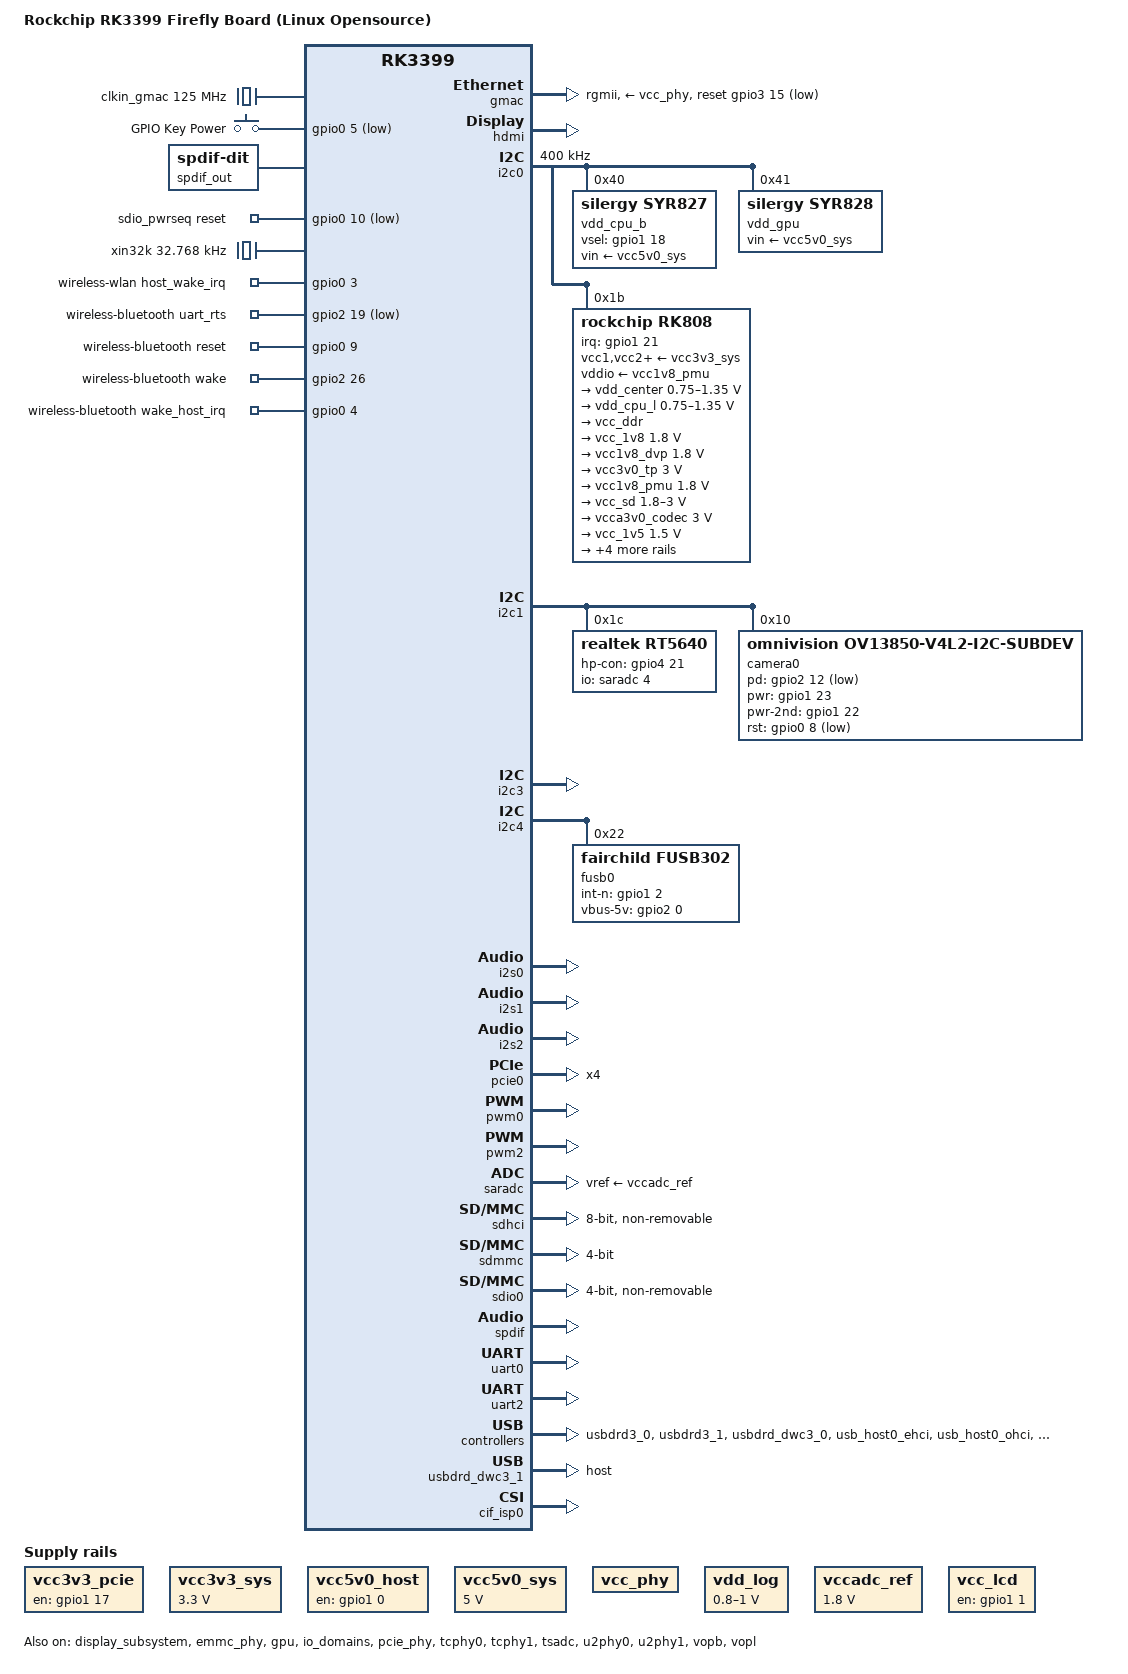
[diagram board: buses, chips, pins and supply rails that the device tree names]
/*
 * Copyright (c) 2017 Fuzhou Rockchip Electronics Co., Ltd
 *
 * This file is dual-licensed: you can use it either under the terms
 * of the GPL or the X11 license, at your option. Note that this dual
 * licensing only applies to this file, and not this project as a
 * whole.
 *
 *  a) This file is free software; you can redistribute it and/or
 *     modify it under the terms of the GNU General Public License as
 *     published by the Free Software Foundation; either version 2 of the
 *     License, or (at your option) any later version.
 *
 *     This file is distributed in the hope that it will be useful,
 *     but WITHOUT ANY WARRANTY; without even the implied warranty of
 *     MERCHANTABILITY or FITNESS FOR A PARTICULAR PURPOSE.  See the
 *     GNU General Public License for more details.
 *
 * Or, alternatively,
 *
 *  b) Permission is hereby granted, free of charge, to any person
 *     obtaining a copy of this software and associated documentation
 *     files (the "Software"), to deal in the Software without
 *     restriction, including without limitation the rights to use,
 *     copy, modify, merge, publish, distribute, sublicense, and/or
 *     sell copies of the Software, and to permit persons to whom the
 *     Software is furnished to do so, subject to the following
 *     conditions:
 *
 *     The above copyright notice and this permission notice shall be
 *     included in all copies or substantial portions of the Software.
 *
 *     THE SOFTWARE IS PROVIDED "AS IS", WITHOUT WARRANTY OF ANY KIND,
 *     EXPRESS OR IMPLIED, INCLUDING BUT NOT LIMITED TO THE WARRANTIES
 *     OF MERCHANTABILITY, FITNESS FOR A PARTICULAR PURPOSE AND
 *     NONINFRINGEMENT. IN NO EVENT SHALL THE AUTHORS OR COPYRIGHT
 *     HOLDERS BE LIABLE FOR ANY CLAIM, DAMAGES OR OTHER LIABILITY,
 *     WHETHER IN AN ACTION OF CONTRACT, TORT OR OTHERWISE, ARISING
 *     FROM, OUT OF OR IN CONNECTION WITH THE SOFTWARE OR THE USE OR
 *     OTHER DEALINGS IN THE SOFTWARE.
 */

/dts-v1/;

#include "dt-bindings/pwm/pwm.h"
#include "rk3399.dtsi"
#include "rk3399-opp.dtsi"
#include "rk3399-linux.dtsi"
#include <dt-bindings/input/input.h>

/ {
	model = "Rockchip RK3399 Firefly Board (Linux Opensource)";
	compatible = "rockchip,rk3399-firefly-linux", "rockchip,rk3399";

	backlight: backlight {
		status = "disabled";
		compatible = "pwm-backlight";
		pwms = <&pwm0 0 25000 0>;
		brightness-levels = <
			  0   1   2   3   4   5   6   7
			  8   9  10  11  12  13  14  15
			 16  17  18  19  20  21  22  23
			 24  25  26  27  28  29  30  31
			 32  33  34  35  36  37  38  39
			 40  41  42  43  44  45  46  47
			 48  49  50  51  52  53  54  55
			 56  57  58  59  60  61  62  63
			 64  65  66  67  68  69  70  71
			 72  73  74  75  76  77  78  79
			 80  81  82  83  84  85  86  87
			 88  89  90  91  92  93  94  95
			 96  97  98  99 100 101 102 103
			104 105 106 107 108 109 110 111
			112 113 114 115 116 117 118 119
			120 121 122 123 124 125 126 127
			128 129 130 131 132 133 134 135
			136 137 138 139 140 141 142 143
			144 145 146 147 148 149 150 151
			152 153 154 155 156 157 158 159
			160 161 162 163 164 165 166 167
			168 169 170 171 172 173 174 175
			176 177 178 179 180 181 182 183
			184 185 186 187 188 189 190 191
			192 193 194 195 196 197 198 199
			200 201 202 203 204 205 206 207
			208 209 210 211 212 213 214 215
			216 217 218 219 220 221 222 223
			224 225 226 227 228 229 230 231
			232 233 234 235 236 237 238 239
			240 241 242 243 244 245 246 247
			248 249 250 251 252 253 254 255>;
		default-brightness-level = <200>;
	};

	clkin_gmac: external-gmac-clock {
		compatible = "fixed-clock";
		clock-frequency = <125000000>;
		clock-output-names = "clkin_gmac";
		#clock-cells = <0>;
	};

	dw_hdmi_audio: dw-hdmi-audio {
		status = "disabled";
		compatible = "rockchip,dw-hdmi-audio";
		#sound-dai-cells = <0>;
	};

	edp_panel: edp-panel {
		status = "disabled";
		compatible = "sharp,lcd-f402", "panel-simple";
		backlight = <&backlight>;
		power-supply = <&vcc_lcd>;
		enable-gpios = <&gpio4 29 GPIO_ACTIVE_HIGH>;
		pinctrl-names = "default";
		pinctrl-0 = <&lcd_panel_reset>;

		ports {
			panel_in_edp: endpoint {
				remote-endpoint = <&edp_out_panel>;
			};
		};
	};

	gpio-keys {
		compatible = "gpio-keys";
		#address-cells = <1>;
		#size-cells = <0>;
		autorepeat;

		pinctrl-names = "default";
		pinctrl-0 = <&pwrbtn>;

		button@0 {
			gpios = <&gpio0 5 GPIO_ACTIVE_LOW>;
			linux,code = <KEY_POWER>;
			label = "GPIO Key Power";
			linux,input-type = <1>;
			gpio-key,wakeup = <1>;
			debounce-interval = <100>;
		};
	};

	rt5640-sound {
		compatible = "simple-audio-card";
		simple-audio-card,format = "i2s";
		simple-audio-card,name = "rockchip,rt5640-codec";
		simple-audio-card,mclk-fs = <256>;
		simple-audio-card,widgets =
			"Microphone", "Mic Jack",
			"Headphone", "Headphone Jack";
		simple-audio-card,routing =
			"Mic Jack", "MICBIAS1",
			"IN1P", "Mic Jack",
			"Headphone Jack", "HPOL",
			"Headphone Jack", "HPOR";
		simple-audio-card,cpu {
			sound-dai = <&i2s1>;
		};
		simple-audio-card,codec {
			sound-dai = <&rt5640>;
		};
	};

	hdmi_sound: hdmi-sound {
		status = "disabled";
		compatible = "simple-audio-card";
		simple-audio-card,format = "i2s";
		simple-audio-card,mclk-fs = <256>;
		simple-audio-card,name = "rockchip,hdmi";

		simple-audio-card,cpu {
			sound-dai = <&i2s2>;
		};
		simple-audio-card,codec {
			sound-dai = <&dw_hdmi_audio>;
		};
	};

	hdmi_codec: hdmi-codec {
		compatible = "simple-audio-card";
		simple-audio-card,format = "i2s";
		simple-audio-card,mclk-fs = <256>;
		simple-audio-card,name = "HDMI-CODEC";

		simple-audio-card,cpu {
			sound-dai = <&i2s2>;
		};

		simple-audio-card,codec {
			sound-dai = <&hdmi>;
		};
	};

	spdif-sound {
		status = "okay";
		compatible = "simple-audio-card";
		simple-audio-card,name = "ROCKCHIP,SPDIF";
		simple-audio-card,cpu {
			sound-dai = <&spdif>;
		};
		simple-audio-card,codec {
			sound-dai = <&spdif_out>;
		};
	};

	spdif_out: spdif-out {
		status = "okay";
		compatible = "linux,spdif-dit";
		#sound-dai-cells = <0>;
	};

	sdio_pwrseq: sdio-pwrseq {
		compatible = "mmc-pwrseq-simple";
		clocks = <&rk808 1>;
		clock-names = "ext_clock";
		pinctrl-names = "default";
		pinctrl-0 = <&wifi_enable_h>;

		/*
		 * On the module itself this is one of these (depending
		 * on the actual card populated):
		 * - SDIO_RESET_L_WL_REG_ON
		 * - PDN (power down when low)
		 */
		reset-gpios = <&gpio0 10 GPIO_ACTIVE_LOW>; /* GPIO0_B2 */
	};

	vcc3v3_pcie: vcc3v3-pcie-regulator {
		compatible = "regulator-fixed";
		enable-active-high;
		regulator-always-on;
		regulator-boot-on;
		gpio = <&gpio1 17 GPIO_ACTIVE_HIGH>;
		pinctrl-names = "default";
		pinctrl-0 = <&pcie_drv>;
		regulator-name = "vcc3v3_pcie";
	};

	vcc3v3_sys: vcc3v3-sys {
		compatible = "regulator-fixed";
		regulator-name = "vcc3v3_sys";
		regulator-always-on;
		regulator-boot-on;
		regulator-min-microvolt = <3300000>;
		regulator-max-microvolt = <3300000>;
	};

	vcc5v0_host: vcc5v0-host-regulator {
		compatible = "regulator-fixed";
		enable-active-high;
		gpio = <&gpio1 0 GPIO_ACTIVE_HIGH>;
		pinctrl-names = "default";
		pinctrl-0 = <&host_vbus_drv>;
		regulator-name = "vcc5v0_host";
		regulator-always-on;
	};

	vcc5v0_sys: vcc5v0-sys {
		compatible = "regulator-fixed";
		regulator-name = "vcc5v0_sys";
		regulator-always-on;
		regulator-boot-on;
		regulator-min-microvolt = <5000000>;
		regulator-max-microvolt = <5000000>;
	};

	vcc_phy: vcc-phy-regulator {
		compatible = "regulator-fixed";
		regulator-name = "vcc_phy";
		regulator-always-on;
		regulator-boot-on;
	};

	vdd_log: vdd-log {
		compatible = "pwm-regulator";
		pwms = <&pwm2 0 25000 1>;
		regulator-name = "vdd_log";
		regulator-min-microvolt = <800000>;
		/*
		 * the firefly hardware using 3.0 v as APIO2_VDD
		 * voltage, but the pwm divider resistance is designed
		 * based on hardware which the APIO2_VDD is 1.8v, so we
		 * need to change the regulator-max-microvolt from 1.4v
		 * to 1.0v, so the pwm can output 0.9v voltage.
		 */
		regulator-max-microvolt = <1000000>;
		regulator-always-on;
		regulator-boot-on;

		/* for rockchip boot on */
		rockchip,pwm_id= <2>;
		rockchip,pwm_voltage = <900000>;
	};

	vccadc_ref: vccadc-ref {
		compatible = "regulator-fixed";
		regulator-name = "vcc1v8_sys";
		regulator-always-on;
		regulator-boot-on;
		regulator-min-microvolt = <1800000>;
		regulator-max-microvolt = <1800000>;
	};

	vcc_lcd: vcc-lcd-regulator {
		compatible = "regulator-fixed";
		regulator-always-on;
		regulator-boot-on;
		enable-active-high;
		gpio = <&gpio1 1 GPIO_ACTIVE_HIGH>;
		pinctrl-names = "default";
		pinctrl-0 = <&lcd_en>;
		regulator-name = "vcc_lcd";
	};

	xin32k: xin32k {
		compatible = "fixed-clock";
		clock-frequency = <32768>;
		clock-output-names = "xin32k";
		#clock-cells = <0>;
	};

	wireless-wlan {
		compatible = "wlan-platdata";
		rockchip,grf = <&grf>;
		wifi_chip_type = "ap6354";
		sdio_vref = <1800>;
		WIFI,host_wake_irq = <&gpio0 3 GPIO_ACTIVE_HIGH>; /* GPIO0_a3 */
		status = "okay";
	};

	wireless-bluetooth {
		compatible = "bluetooth-platdata";
		//wifi-bt-power-toggle;
		uart_rts_gpios = <&gpio2 19 GPIO_ACTIVE_LOW>; /* GPIO2_C3 */
		pinctrl-names = "default", "rts_gpio";
		pinctrl-0 = <&uart0_rts>;
		pinctrl-1 = <&uart0_gpios>;
		//BT,power_gpio  = <&gpio3 19 GPIO_ACTIVE_HIGH>; /* GPIOx_xx */
		BT,reset_gpio    = <&gpio0 9 GPIO_ACTIVE_HIGH>; /* GPIO0_B1 */
		BT,wake_gpio     = <&gpio2 26 GPIO_ACTIVE_HIGH>; /* GPIO2_D2 */
		BT,wake_host_irq = <&gpio0 4 GPIO_ACTIVE_HIGH>; /* GPIO0_A4 */
		status = "okay";
	};
};

&cpu_l0 {
	cpu-supply = <&vdd_cpu_l>;
};

&cpu_l1 {
	cpu-supply = <&vdd_cpu_l>;
};

&cpu_l2 {
	cpu-supply = <&vdd_cpu_l>;
};

&cpu_l3 {
	cpu-supply = <&vdd_cpu_l>;
};

&cpu_b0 {
	cpu-supply = <&vdd_cpu_b>;
};

&cpu_b1 {
	cpu-supply = <&vdd_cpu_b>;
};

&display_subsystem {
	status = "okay";
};

&edp {
	status = "disabled";

	ports {
		edp_out: port@1 {
			reg = <1>;
			#address-cells = <1>;
			#size-cells = <0>;

			edp_out_panel: endpoint@0 {
				reg = <0>;
				remote-endpoint = <&panel_in_edp>;
			};
		};
	};
};

&emmc_phy {
	status = "okay";
};

&gmac {
	phy-supply = <&vcc_phy>;
	phy-mode = "rgmii";
	clock_in_out = "input";
	snps,reset-gpio = <&gpio3 15 GPIO_ACTIVE_LOW>;
	snps,reset-active-low;
	snps,reset-delays-us = <0 10000 50000>;
	assigned-clocks = <&cru SCLK_RMII_SRC>;
	assigned-clock-parents = <&clkin_gmac>;
	pinctrl-names = "default";
	pinctrl-0 = <&rgmii_pins>;
	tx_delay = <0x28>;
	rx_delay = <0x11>;
	status = "okay";
};

&gpu {
	status = "okay";
	mali-supply = <&vdd_gpu>;
};

&hdmi {
	#address-cells = <1>;
	#size-cells = <0>;
	#sound-dai-cells = <0>;
	status = "okay";
};

&i2c0 {
	status = "okay";
	i2c-scl-rising-time-ns = <168>;
	i2c-scl-falling-time-ns = <4>;
	clock-frequency = <400000>;

	vdd_cpu_b: syr827@40 {
		compatible = "silergy,syr827";
		reg = <0x40>;
		vin-supply = <&vcc5v0_sys>;
		regulator-compatible = "fan53555-reg";
		regulator-name = "vdd_cpu_b";
		regulator-min-microvolt = <712500>;
		regulator-max-microvolt = <1500000>;
		regulator-ramp-delay = <1000>;
		vsel-gpios = <&gpio1 18 GPIO_ACTIVE_HIGH>;
		fcs,suspend-voltage-selector = <1>;
		regulator-always-on;
		regulator-boot-on;
		regulator-initial-state = <3>;
			regulator-state-mem {
			regulator-off-in-suspend;
		};
	};

	vdd_gpu: syr828@41 {
		compatible = "silergy,syr828";
		reg = <0x41>;
		vin-supply = <&vcc5v0_sys>;
		regulator-compatible = "fan53555-reg";
		regulator-name = "vdd_gpu";
		regulator-min-microvolt = <712500>;
		regulator-max-microvolt = <1500000>;
		regulator-ramp-delay = <1000>;
		fcs,suspend-voltage-selector = <1>;
		regulator-always-on;
		regulator-boot-on;
		regulator-initial-state = <3>;
			regulator-state-mem {
			regulator-off-in-suspend;
		};
	};

	rk808: pmic@1b {
		compatible = "rockchip,rk808";
		reg = <0x1b>;
		interrupt-parent = <&gpio1>;
		interrupts = <21 IRQ_TYPE_LEVEL_LOW>;
		pinctrl-names = "default";
		pinctrl-0 = <&pmic_int_l &pmic_dvs2>;
		rockchip,system-power-controller;
		wakeup-source;
		#clock-cells = <1>;
		clock-output-names = "rk808-clkout1", "rk808-clkout2";

		vcc1-supply = <&vcc3v3_sys>;
		vcc2-supply = <&vcc3v3_sys>;
		vcc3-supply = <&vcc3v3_sys>;
		vcc4-supply = <&vcc3v3_sys>;
		vcc6-supply = <&vcc3v3_sys>;
		vcc7-supply = <&vcc3v3_sys>;
		vcc8-supply = <&vcc3v3_sys>;
		vcc9-supply = <&vcc3v3_sys>;
		vcc10-supply = <&vcc3v3_sys>;
		vcc11-supply = <&vcc3v3_sys>;
		vcc12-supply = <&vcc3v3_sys>;
		vddio-supply = <&vcc1v8_pmu>;

		regulators {
			vdd_center: DCDC_REG1 {
				regulator-always-on;
				regulator-boot-on;
				regulator-min-microvolt = <750000>;
				regulator-max-microvolt = <1350000>;
				regulator-ramp-delay = <6001>;
				regulator-name = "vdd_center";
				regulator-state-mem {
					regulator-off-in-suspend;
				};
			};

			vdd_cpu_l: DCDC_REG2 {
				regulator-always-on;
				regulator-boot-on;
				regulator-min-microvolt = <750000>;
				regulator-max-microvolt = <1350000>;
				regulator-ramp-delay = <6001>;
				regulator-name = "vdd_cpu_l";
				regulator-state-mem {
					regulator-off-in-suspend;
				};
			};

			vcc_ddr: DCDC_REG3 {
				regulator-always-on;
				regulator-boot-on;
				regulator-name = "vcc_ddr";
				regulator-state-mem {
					regulator-on-in-suspend;
				};
			};

			vcc_1v8: DCDC_REG4 {
				regulator-always-on;
				regulator-boot-on;
				regulator-min-microvolt = <1800000>;
				regulator-max-microvolt = <1800000>;
				regulator-name = "vcc_1v8";
				regulator-state-mem {
					regulator-on-in-suspend;
					regulator-suspend-microvolt = <1800000>;
				};
			};

			vcc1v8_dvp: LDO_REG1 {
				regulator-always-on;
				regulator-boot-on;
				regulator-min-microvolt = <1800000>;
				regulator-max-microvolt = <1800000>;
				regulator-name = "vcc1v8_dvp";
				regulator-state-mem {
					regulator-off-in-suspend;
				};
			};

			vcc3v0_tp: LDO_REG2 {
				regulator-always-on;
				regulator-boot-on;
				regulator-min-microvolt = <3000000>;
				regulator-max-microvolt = <3000000>;
				regulator-name = "vcc3v0_tp";
				regulator-state-mem {
					regulator-off-in-suspend;
				};
			};

			vcc1v8_pmu: LDO_REG3 {
				regulator-always-on;
				regulator-boot-on;
				regulator-min-microvolt = <1800000>;
				regulator-max-microvolt = <1800000>;
				regulator-name = "vcc1v8_pmu";
				regulator-state-mem {
					regulator-on-in-suspend;
					regulator-suspend-microvolt = <1800000>;
				};
			};

			vcc_sd: LDO_REG4 {
				regulator-always-on;
				regulator-boot-on;
				regulator-min-microvolt = <1800000>;
				regulator-max-microvolt = <3000000>;
				regulator-name = "vcc_sd";
				regulator-state-mem {
					regulator-on-in-suspend;
					regulator-suspend-microvolt = <3000000>;
				};
			};

			vcca3v0_codec: LDO_REG5 {
				regulator-always-on;
				regulator-boot-on;
				regulator-min-microvolt = <3000000>;
				regulator-max-microvolt = <3000000>;
				regulator-name = "vcca3v0_codec";
				regulator-state-mem {
					regulator-off-in-suspend;
				};
			};

			vcc_1v5: LDO_REG6 {
				regulator-always-on;
				regulator-boot-on;
				regulator-min-microvolt = <1500000>;
				regulator-max-microvolt = <1500000>;
				regulator-name = "vcc_1v5";
				regulator-state-mem {
					regulator-on-in-suspend;
					regulator-suspend-microvolt = <1500000>;
				};
			};

			vcca1v8_codec: LDO_REG7 {
				regulator-always-on;
				regulator-boot-on;
				regulator-min-microvolt = <1800000>;
				regulator-max-microvolt = <1800000>;
				regulator-name = "vcca1v8_codec";
				regulator-state-mem {
					regulator-off-in-suspend;
				};
			};

			vcc_3v0: LDO_REG8 {
				regulator-always-on;
				regulator-boot-on;
				regulator-min-microvolt = <3000000>;
				regulator-max-microvolt = <3000000>;
				regulator-name = "vcc_3v0";
				regulator-state-mem {
					regulator-on-in-suspend;
					regulator-suspend-microvolt = <3000000>;
				};
			};

			vcc3v3_s3: SWITCH_REG1 {
				regulator-always-on;
				regulator-boot-on;
				regulator-name = "vcc3v3_s3";
				regulator-state-mem {
					regulator-off-in-suspend;
				};
			};

			vcc3v3_s0: SWITCH_REG2 {
				regulator-always-on;
				regulator-boot-on;
				regulator-name = "vcc3v3_s0";
				regulator-state-mem {
					regulator-off-in-suspend;
				};
			};
		};
	};
};

&i2c1 {
	status = "okay";
	i2c-scl-rising-time-ns = <300>;
	i2c-scl-falling-time-ns = <15>;

	rt5640: rt5640@1c {
		#sound-dai-cells = <0>;
		compatible = "realtek,rt5640";
		reg = <0x1c>;
		clocks = <&cru SCLK_I2S_8CH_OUT>;
		clock-names = "mclk";
		realtek,in1-differential;
		pinctrl-names = "default";
		pinctrl-0 = <&rt5640_hpcon &i2s_8ch_mclk>;
		hp-con-gpio = <&gpio4 21 GPIO_ACTIVE_HIGH>;
		//hp-det-gpio = <&gpio4 28 GPIO_ACTIVE_LOW>;
		io-channels = <&saradc 4>;
		hp-det-adc-value = <500>;
	};

	camera0: ov13850@10 {
		status = "okay";
		compatible = "omnivision,ov13850-v4l2-i2c-subdev";
		reg = < 0x10 >;
		device_type = "v4l2-i2c-subdev";

		clocks = <&cru SCLK_CIF_OUT>;
		clock-names = "clk_cif_out";

		pinctrl-names = "rockchip,camera_default", "rockchip,camera_sleep";
		pinctrl-0 = <&cam0_default_pins>;
		pinctrl-1 = <&cam0_sleep_pins>;

		rockchip,pd-gpio = <&gpio2 12 GPIO_ACTIVE_LOW>;
		rockchip,pwr-gpio = <&gpio1 23 GPIO_ACTIVE_HIGH>;
		rockchip,pwr-2nd-gpio = <&gpio1 22 GPIO_ACTIVE_HIGH>;
		rockchip,rst-gpio = <&gpio0 8 GPIO_ACTIVE_LOW>;

		rockchip,camera-module-mclk-name = "clk_cif_out";
		rockchip,camera-module-facing = "back";
		rockchip,camera-module-name = "cmk-cb0695-fv1";
		rockchip,camera-module-len-name = "lg9569a2";
		rockchip,camera-module-fov-h = "66.0";
		rockchip,camera-module-fov-v = "50.1";
		rockchip,camera-module-orientation = <0>;
		rockchip,camera-module-iq-flip = <0>;
		rockchip,camera-module-iq-mirror = <0>;
		rockchip,camera-module-flip = <1>;
		rockchip,camera-module-mirror = <0>;

		rockchip,camera-module-defrect0 = <2112 1568 0 0 2112 1568>;
		rockchip,camera-module-defrect1 = <4224 3136 0 0 4224 3136>;
		rockchip,camera-module-defrect3 = <3264 2448 0 0 3264 2448>;
		rockchip,camera-module-flash-support = <0>;
		rockchip,camera-module-mipi-dphy-index = <0>;
	};
};

&i2c3 {
	status = "okay";
	i2c-scl-rising-time-ns = <450>;
	i2c-scl-falling-time-ns = <15>;
};

&i2c4 {
	status = "okay";
	i2c-scl-rising-time-ns = <600>;
	i2c-scl-falling-time-ns = <20>;

	fusb0: fusb30x@22 {
		compatible = "fairchild,fusb302";
		reg = <0x22>;
		pinctrl-names = "default";
		pinctrl-0 = <&fusb0_int>;
		int-n-gpios = <&gpio1 2 GPIO_ACTIVE_HIGH>;
		vbus-5v-gpios = <&gpio2 0 GPIO_ACTIVE_HIGH>;
		status = "okay";
	};

	gsl3680: gsl3680@41 {
		status = "disabled";
		compatible = "gslX680-pad";
		reg = <0x41>;
		screen_max_x = <1536>;
		screen_max_y = <2048>;
		touch-gpio = <&gpio1 20 IRQ_TYPE_LEVEL_LOW>;
		reset-gpio = <&gpio0 12 GPIO_ACTIVE_HIGH>;
	};

	mpu6050: mpu@68 {
		status = "disabled";
		compatible = "invensense,mpu6050";
		reg = <0x68>;
		mpu-int_config = <0x10>;
		mpu-level_shifter = <0>;
		mpu-orientation = <0 1 0 1 0 0 0 0 1>;
		orientation-x= <1>;
		orientation-y= <1>;
		orientation-z= <1>;
		irq-gpio = <&gpio1 4 IRQ_TYPE_LEVEL_LOW>;
		mpu-debug = <1>;
	};
};

&i2s0 {
	status = "okay";
	rockchip,i2s-broken-burst-len;
	rockchip,playback-channels = <8>;
	rockchip,capture-channels = <8>;
	#sound-dai-cells = <0>;
};

&i2s1 {
	status = "okay";
	rockchip,i2s-broken-burst-len;
	rockchip,playback-channels = <2>;
	rockchip,capture-channels = <2>;
	#sound-dai-cells = <0>;
};

&i2s2 {
	#sound-dai-cells = <0>;
	status = "okay";
};

&io_domains {
	status = "okay";

	bt656-supply = <&vcc1v8_dvp>;		/* bt656_gpio2ab_ms */
	audio-supply = <&vcca1v8_codec>;	/* audio_gpio3d4a_ms */
	sdmmc-supply = <&vcc_sd>;		/* sdmmc_gpio4b_ms */
	gpio1830-supply = <&vcc_3v0>;		/* gpio1833_gpio4cd_ms */
};

&pcie_phy {
	status = "okay";
};

&pcie0 {
	ep-gpios = <&gpio4 25 GPIO_ACTIVE_HIGH>;
	num-lanes = <4>;
	pinctrl-names = "default";
	pinctrl-0 = <&pcie_clkreqn_cpm>;
	status = "okay";
};

&pmu_io_domains {
	status = "okay";
	pmu1830-supply = <&vcc_3v0>;
};

&pinctrl {
	buttons {
		pwrbtn: pwrbtn {
			rockchip,pins = <0 RK_PA5 RK_FUNC_GPIO &pcfg_pull_up>;
		};
	};

	lcd-panel {
		lcd_panel_reset: lcd-panel-reset {
			rockchip,pins = <4 RK_PD5 RK_FUNC_GPIO &pcfg_pull_up>;
		};

		lcd_en: lcd-en {
			rockchip,pins = <1 RK_PA1 RK_FUNC_GPIO &pcfg_pull_up>;
		};
	};

	pcie {
		pcie_drv: pcie-drv {
			rockchip,pins =
				<1 RK_PC1 RK_FUNC_GPIO &pcfg_pull_none>;
			};
			pcie_3g_drv: pcie-3g-drv {
			rockchip,pins =
				<0 RK_PA2 RK_FUNC_GPIO &pcfg_pull_up>;
		};
	};

	pmic {
		vsel1_gpio: vsel1-gpio {
			rockchip,pins =
				<1 RK_PC2 RK_FUNC_GPIO &pcfg_pull_down>;
		};

		vsel2_gpio: vsel2-gpio {
			rockchip,pins =
			<1 RK_PB6 RK_FUNC_GPIO &pcfg_pull_down>;
		};
	};

	sdio-pwrseq {
		wifi_enable_h: wifi-enable-h {
			rockchip,pins =
				<0 RK_PB2 RK_FUNC_GPIO &pcfg_pull_none>;
		};
	};

	wireless-bluetooth {
		uart0_gpios: uart0-gpios {
			rockchip,pins =
				<2 RK_PC3 RK_FUNC_GPIO &pcfg_pull_none>;
		};
	};

	rt5640 {
		rt5640_hpcon: rt5640-hpcon {
			rockchip,pins = <4 RK_PC5 RK_FUNC_GPIO &pcfg_pull_none>;
		};
	};

	pmic {
		pmic_int_l: pmic-int-l {
			rockchip,pins =
				<1 RK_PC5 RK_FUNC_GPIO &pcfg_pull_up>;
		};

		pmic_dvs2: pmic-dvs2 {
			rockchip,pins =
				<1 RK_PC2 RK_FUNC_GPIO &pcfg_pull_down>;
		};
	};

	usb2 {
		host_vbus_drv: host-vbus-drv {
			rockchip,pins =
				<4 RK_PD1 RK_FUNC_GPIO &pcfg_pull_none>;
		};
	};

	fusb30x {
		fusb0_int: fusb0-int {
			rockchip,pins = <1 RK_PA2 RK_FUNC_GPIO &pcfg_pull_up>;
		};
	};
};

&pwm0 {
	status = "okay";
};

&pwm2 {
	status = "okay";
	pinctrl-names = "active";
	pinctrl-0 = <&pwm2_pin_pull_down>;
};

&rockchip_suspend {
	rockchip,power-ctrl =
		<&gpio1 18 GPIO_ACTIVE_LOW>,
		<&gpio1 14 GPIO_ACTIVE_HIGH>;
};

&route_edp {
	status = "disabled";
};

&saradc {
	status = "okay";
	vref-supply = <&vccadc_ref>;
};

&sdhci {
	bus-width = <8>;
	keep-power-in-suspend;
	mmc-hs400-1_8v;
	mmc-hs400-enhanced-strobe;
	non-removable;
	status = "okay";
	no-sdio;
	no-sd;
};

&sdmmc {
	max-frequency = <150000000>;
	no-sdio;
	no-mmc;
	bus-width = <4>;
	cap-mmc-highspeed;
	cap-sd-highspeed;
	disable-wp;
	num-slots = <1>;
	vqmmc-supply = <&vcc_sd>;
	pinctrl-names = "default";
	pinctrl-0 = <&sdmmc_clk &sdmmc_cmd &sdmmc_cd &sdmmc_bus4>;
	status = "okay";
};

&sdio0 {
	max-frequency = <50000000>;
	no-sd;
	no-mmc;
	bus-width = <4>;
	disable-wp;
	cap-sd-highspeed;
	keep-power-in-suspend;
	mmc-pwrseq = <&sdio_pwrseq>;
	non-removable;
	num-slots = <1>;
	pinctrl-names = "default";
	pinctrl-0 = <&sdio0_bus4 &sdio0_cmd &sdio0_clk>;
	sd-uhs-sdr104;
	status = "okay";
};

&spdif {
	status = "okay";
	pinctrl-0 = <&spdif_bus_1>;
	i2c-scl-rising-time-ns = <450>;
	i2c-scl-falling-time-ns = <15>;
	#sound-dai-cells = <0>;
};

&tcphy0 {
	extcon = <&fusb0>;
	status = "okay";
};

&tcphy1 {
	status = "okay";
};

&tsadc {
	/* tshut mode 0:CRU 1:GPIO */
	rockchip,hw-tshut-mode = <1>;
	/* tshut polarity 0:LOW 1:HIGH */
	rockchip,hw-tshut-polarity = <1>;
	status = "okay";
};

&u2phy0 {
	status = "okay";
	extcon = <&fusb0>;

	u2phy0_otg: otg-port {
		status = "okay";
	};

	u2phy0_host: host-port {
		phy-supply = <&vcc5v0_host>;
		status = "okay";
	};
};

&u2phy1 {
	status = "okay";

	u2phy1_otg: otg-port {
		status = "okay";
	};

	u2phy1_host: host-port {
		phy-supply = <&vcc5v0_host>;
		status = "okay";
	};
};

&uart0 {
	pinctrl-names = "default";
	pinctrl-0 = <&uart0_xfer &uart0_cts>;
	status = "okay";
};

&uart2 {
	status = "okay";
};

&usbdrd3_0 {
	status = "okay";
};

&usbdrd3_1 {
	status = "okay";
};

&usbdrd_dwc3_0 {
	status = "okay";
	extcon = <&fusb0>;
};

&usbdrd_dwc3_1 {
	status = "okay";
	dr_mode = "host";
};

&usb_host0_ehci {
	status = "okay";
};

&usb_host0_ohci {
	status = "okay";
};

&usb_host1_ehci {
	status = "okay";
};

&usb_host1_ohci {
	status = "okay";
};

&cif_isp0 {
	rockchip,camera-modules-attached = <&camera0>;
	status = "okay";
};

&isp0_mmu {
	status = "okay";
};

&vopb {
	status = "okay";
};

&vopb_mmu {
	status = "okay";
};

&vopl {
	status = "okay";
};

&vopl_mmu {
	status = "okay";
};
